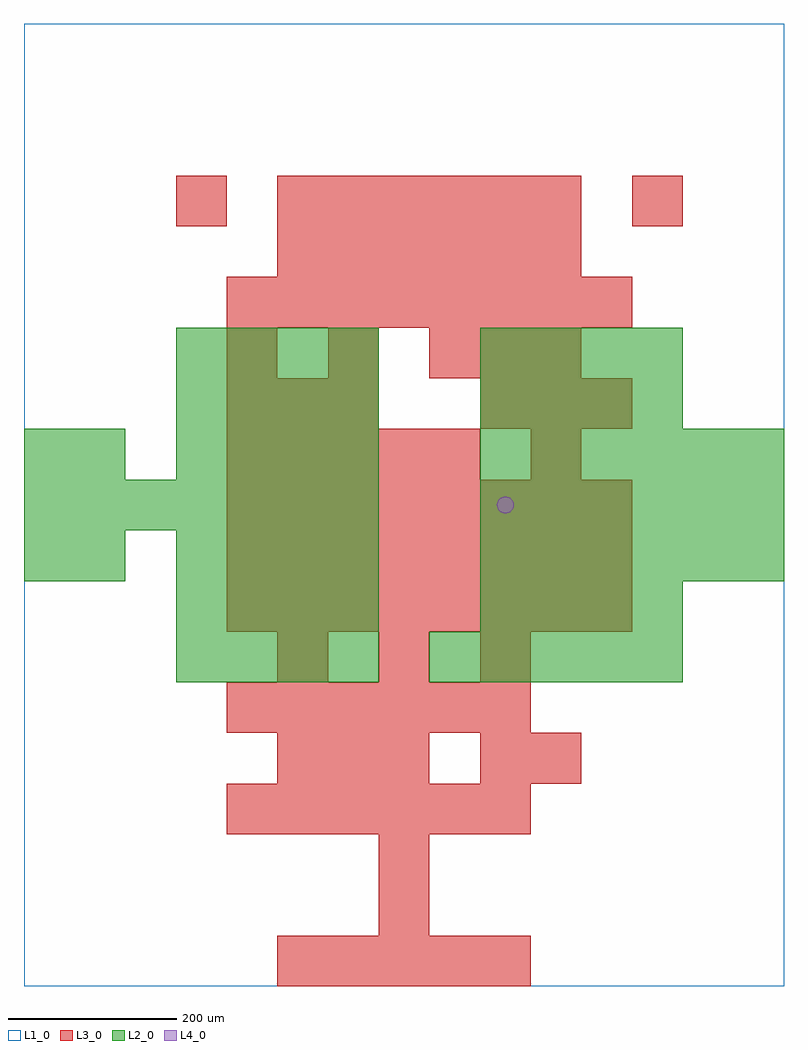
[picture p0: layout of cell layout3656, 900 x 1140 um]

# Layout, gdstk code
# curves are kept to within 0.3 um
import gdstk
lib = gdstk.Library(unit=1e-6, precision=1e-09)
def R(c, l, rs):  # rectangles x0, y0, x1, y1
    for r in rs: c.add(gdstk.rectangle(r[:2], r[2:], *l))
def A(c, l, x, y, w, h, nx, ny, dx, dy):  # array of equal rectangles
    R(c, l, [(x+i*dx, y+j*dy, x+i*dx+w, y+j*dy+h) for i in range(nx) for j in range(ny)])
def P(c, l, *ps):  # polygons
    for p in ps: c.add(gdstk.Polygon(p, *l))
L1_0 = (1, 0)
L2_0 = (2, 0)
L3_0 = (3, 0)
L4_0 = (4, 0)

layout3656 = lib.new_cell('layout3656')
R(layout3656, L1_0, [(0,0,900,1140)])
A(layout3656, L2_0, 180, 360, 60, 60, 4, 3, 60, 60)
A(layout3656, L2_0, 480, 360, 60, 60, 5, 1, 60, 0)
A(layout3656, L2_0, 540, 420, 60, 60, 4, 2, 60, 240)
A(layout3656, L2_0, 540, 480, 60, 60, 6, 3, 60, 60)
A(layout3656, L2_0, 0, 540, 60, 60, 7, 1, 60, 0)
A(layout3656, L2_0, 180, 600, 60, 60, 4, 3, 60, 60)
A(layout3656, L2_0, 540, 720, 60, 60, 4, 1, 60, 0)
R(layout3656, L2_0, [(0,480,60,540), (60,480,120,540), (0,600,60,660), (60,600,120,660)])
A(layout3656, L3_0, 300, 0, 60, 60, 5, 1, 60, 0)
A(layout3656, L3_0, 240, 180, 60, 60, 6, 2, 60, 120)
A(layout3656, L3_0, 300, 240, 60, 60, 3, 1, 60, 0)
A(layout3656, L3_0, 300, 360, 60, 60, 3, 1, 120, 0)
A(layout3656, L3_0, 240, 420, 60, 60, 8, 3, 60, 60)
A(layout3656, L3_0, 240, 600, 60, 60, 5, 1, 60, 0)
A(layout3656, L3_0, 240, 660, 60, 60, 3, 1, 60, 0)
A(layout3656, L3_0, 540, 660, 60, 60, 3, 1, 60, 0)
A(layout3656, L3_0, 240, 720, 60, 60, 3, 1, 120, 0)
A(layout3656, L3_0, 240, 780, 60, 60, 8, 1, 60, 0)
A(layout3656, L3_0, 300, 840, 60, 60, 6, 2, 60, 60)
R(layout3656, L3_0, [(420,60,480,120), (420,120,480,180), (540,240,600,300), (600,240,660,300), (600,600,660,660), (540,720,600,780), (600,720,660,780), (180,900,240,960), (720,900,780,960)])
P(layout3656, L4_0, [(580,570),(579.239,573.827),(577.071,577.071),(573.827,579.239),(570,580),(566.173,579.239),(562.929,577.071),(560.761,573.827),(560,570),(560.761,566.173),(562.929,562.929),(566.173,560.761),(570,560),(573.827,560.761),(577.071,562.929),(579.239,566.173)])

lib.write_gds('layout3656.gds')
